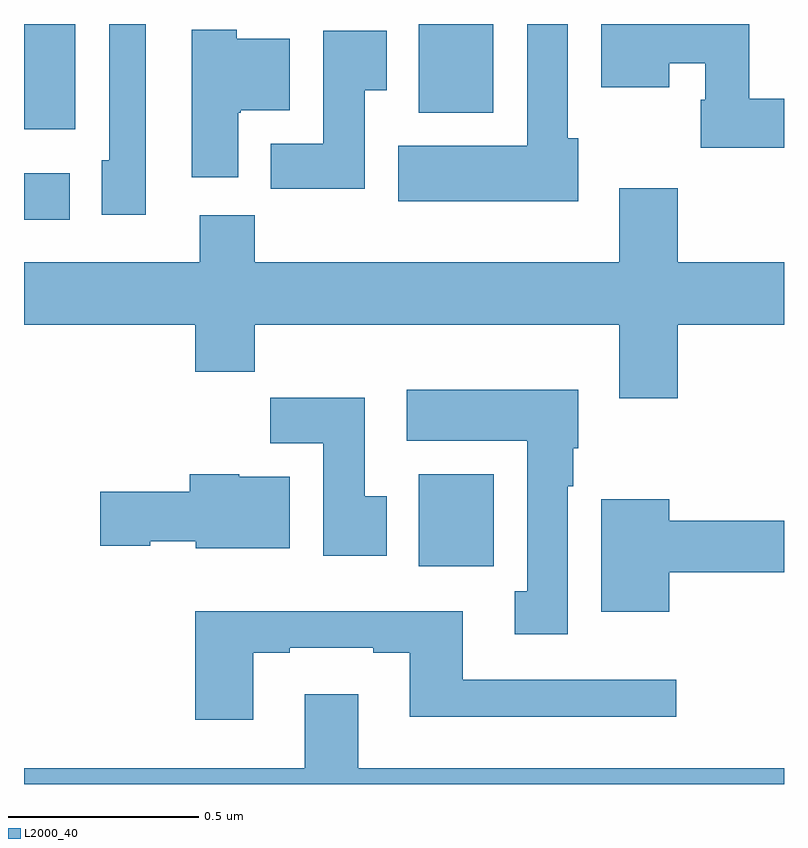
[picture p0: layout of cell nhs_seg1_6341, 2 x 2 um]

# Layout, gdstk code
import gdstk
lib = gdstk.Library(unit=1e-6, precision=1e-09)
def R(c, l, rs):  # rectangles x0, y0, x1, y1
    for r in rs: c.add(gdstk.rectangle(r[:2], r[2:], *l))
def P(c, l, *ps):  # polygons
    for p in ps: c.add(gdstk.Polygon(p, *l))
L2000_40 = (2000, 40)

nhs_seg1_6341 = lib.new_cell('nhs_seg1_6341')
R(nhs_seg1_6341, L2000_40, [(191.039,541.772,191.236,542.014), (190,542.684,190.12,542.806), (190,542.922,190.135,543.199), (191.039,542.966,191.235,543.199)])
P(nhs_seg1_6341, L2000_40, [(190.32,543.199),(190.224,543.199),(190.224,542.841),(190.205,542.841),(190.205,542.697),(190.32,542.697)],
  [(192,543.002),(191.909,543.002),(191.909,543.199),(191.519,543.199),(191.519,543.032),(191.698,543.032),(191.698,543.096),(191.793,543.096),(191.793,543),(191.781,543),(191.781,542.874),(192,542.874)],
  [(191.458,542.898),(191.431,542.898),(191.431,543.199),(191.324,543.199),(191.324,542.878),(190.985,542.878),(190.985,542.732),(191.458,542.732)],
  [(190.564,542.966),(190.57,542.966),(190.57,542.972),(190.699,542.972),(190.699,543.16),(190.56,543.16),(190.56,543.184),(190.442,543.184),(190.442,542.796),(190.564,542.796)],
  [(190.897,543.025),(190.954,543.025),(190.954,543.181),(190.787,543.181),(190.787,542.884),(190.649,542.884),(190.649,542.766),(190.897,542.766)],
  [(191.72,542.408),(192,542.408),(192,542.572),(191.72,542.572),(191.72,542.767),(191.567,542.767),(191.567,542.572),(190.607,542.572),(190.607,542.696),(190.463,542.696),(190.463,542.572),(190,542.572),(190,542.408),(190.451,542.408),(190.451,542.284),(190.607,542.284),(190.607,542.408),(191.567,542.408),(191.567,542.214),(191.72,542.214)],
  [(191.431,541.982),(191.446,541.982),(191.446,542.082),(191.458,542.082),(191.458,542.236),(191.007,542.236),(191.007,542.102),(191.324,542.102),(191.324,541.706),(191.291,541.706),(191.291,541.593),(191.431,541.593)],
  [(190.954,541.956),(190.897,541.956),(190.897,542.215),(190.648,542.215),(190.648,542.096),(190.787,542.096),(190.787,541.8),(190.954,541.8)],
  [(190.699,542.008),(190.566,542.008),(190.566,542.014),(190.436,542.014),(190.436,541.968),(190.2,541.968),(190.2,541.826),(190.332,541.826),(190.332,541.838),(190.452,541.838),(190.452,541.82),(190.699,541.82)],
  [(191.698,541.756),(192,541.756),(192,541.892),(191.698,541.892),(191.698,541.948),(191.519,541.948),(191.519,541.652),(191.698,541.652)],
  [(190.603,541.545),(190.699,541.545),(190.699,541.557),(190.919,541.557),(190.919,541.545),(191.015,541.545),(191.015,541.376),(191.716,541.376),(191.716,541.473),(191.155,541.473),(191.155,541.654),(190.451,541.654),(190.451,541.368),(190.603,541.368)],
  [(192,541.24),(190.879,541.24),(190.879,541.435),(190.739,541.435),(190.739,541.24),(190,541.24),(190,541.199),(192,541.199)])

lib.write_gds('nhs_seg1_6341.gds')
